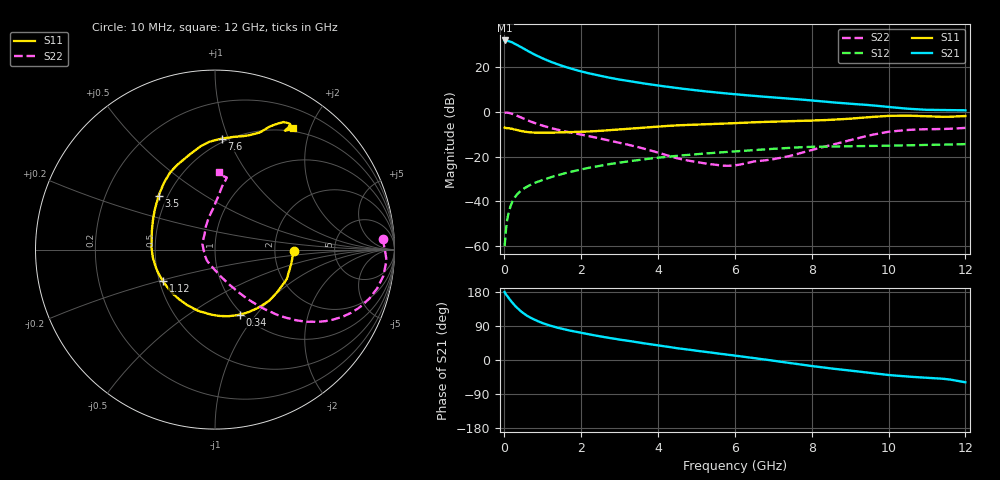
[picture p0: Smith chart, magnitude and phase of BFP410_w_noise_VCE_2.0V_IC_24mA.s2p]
! Infineon Technologies  Discrete & RF Semiconductors
! BFP410
! VCE =  2.0 V,  IC =  24 mA
! Common Emitter S-Parameters:  Nov 2015
# GHz  S  MA  R  50
!  f  S11  S21  S12  S22
! GHz  MAG  ANG  MAG  ANG  MAG  ANG  MAG  ANG
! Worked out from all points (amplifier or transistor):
!   243 points, 10 MHz to 12 GHz, reference 50 ohm
!   highest |S21| = 31.8 dB at 20 MHz (marker M1)
!   |S21| within 3 dB of that: start of sweep to 441.9 MHz
!   unconditionally stable (mu >= 1): start of sweep to 15.42 MHz; 1.67 GHz to end of sweep
!   at 240 MHz: K = 0.31, MSG = 34.9 dB, |S12| = -39.3 dB
!   at 1.84 GHz: K = 1.03, MAG = 21.4 dB, |S12| = -26.4 dB
!   at 12 GHz: K = 1.02, MAG = 6.7 dB, |S12| = -14.5 dB
!   lowest NFmin = 1.85 dB at 450 MHz
!   S11 on the Smith chart (normalised r, x): 10 MHz: 2.57, -0.06; 340 MHz: 0.97, -0.83; 1.12 GHz: 0.52, -0.21; 3.5 GHz: 0.45, +0.33; 7.6 GHz: 0.47, +0.95; 12 GHz: 0.46, +1.73
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0.01  0.4406 -1.3  38.69 179.5  0.001 118.1  0.9353 3.7
0.02  0.4346 -4.3  38.84 176.8  0.0012 93.6  0.9474 -0.3
0.1  0.4323 -22.3  37.9 165.8  0.005 82.8  0.9497 -8.8
0.2  0.4155 -43.1  35.43 152.6  0.0094 76.3  0.9015 -17.7
0.26  0.4022 -54.6  33.41 145.4  0.0117 72.7  0.8626 -22.3
0.34  0.3876 -69.1  30.83 137.1  0.0145 69.5  0.8071 -27.4
0.4  0.3784 -78.8  28.84 131.3  0.0162 67.2  0.7658 -30.6
0.5  0.3631 -93.2  25.74 123.3  0.019 65.0  0.7017 -35.0
0.6  0.3539 -105.5  22.98 116.3  0.0214 63.3  0.6452 -38.5
0.7  0.3458 -116.4  20.65 110.7  0.0237 62.2  0.597 -41.2
0.9  0.3401 -133.9  16.94 101.2  0.0279 61.0  0.5198 -45.4
1.12  0.3392 -148.8  13.97 93.3  0.0326 60.2  0.4551 -48.8
1.42  0.3446 -164.4  11.14 84.4  0.0389 59.2  0.3904 -52.6
2.02  0.3561 173.4  7.852 71.2  0.0521 56.4  0.3067 -58.2
2.6  0.38 156.1  6.046 60.5  0.0647 52.2  0.2406 -64.1
3.5  0.4351 136.2  4.429 46.0  0.0837 45.2  0.1608 -76.3
4.1  0.4735 125.9  3.738 37.1  0.096 39.9  0.1154 -89.3
6.1  0.5601 102.2  2.41 10.3  0.1318 22.2  0.0654 174.1
7.6  0.6193 86.4  1.906 -10.0  0.1591 7.5  0.1121 119.9
8.2  0.6429 78.4  1.721 -18.3  0.1656 0.5  0.1549 106.8
10.2  0.811 60.6  1.23 -41.2  0.176 -15.9  0.3712 82.5
12  0.8017 57.4  1.073 -58.7  0.1892 -31.3  0.435 87.2
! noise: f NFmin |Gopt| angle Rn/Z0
0.45  1.85  0.17  -160  0.18
0.9  1.85  0.2  -157  0.16
1.8  2  0.24  -139  0.19
2.4  2  0.28  -125  0.24
5.5  2.89  0.46  -101  0.5
10  4.02  0.72  -45  2.79
